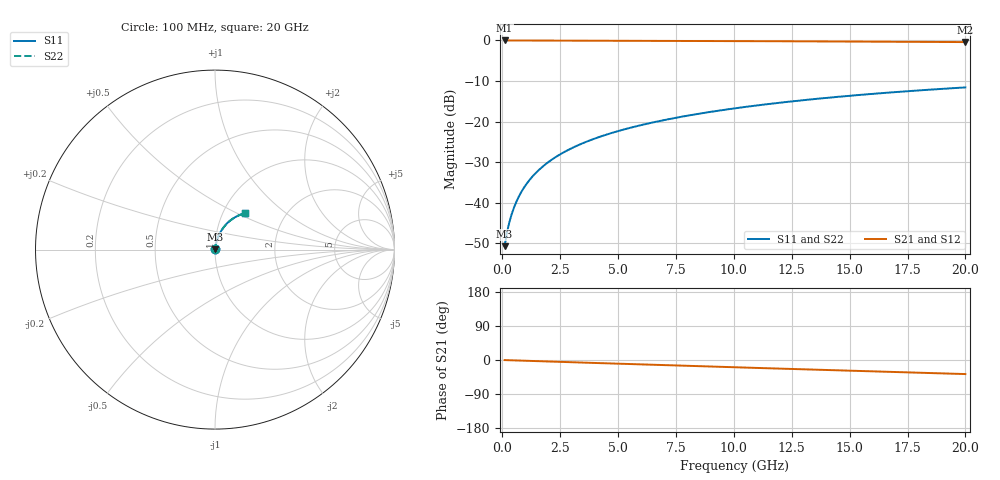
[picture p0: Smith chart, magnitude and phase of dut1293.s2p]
! Touchstone file exported from HFSS 2026.1.0
!  File:  C:/ffzhzh/LocalFiles/Ansys_Project_Files/temp_train_BSMRDL_1293_1783178046_43440.aedt
!  Generated:  11:15:25 PM Jul  4, 2026
!  Design:  BSMRDL
!  Project:  temp_train_BSMRDL_1293_1783178046_43440
! Variables:
!  h_bsmrdl = 5.48um
!  h_ox = 20um
!  h_rdl = 5um
!  h_sub = 80um
!  h_tmrdl = 5um
!  h_tsv = 80um
!  h_via = 3um
!  l_bsmrdl = 599.03um
!  l_sub = 999.03um
!  l_tmrdl = 200um
!  m_sub = 200um
!  pitch = 34.17um
!  r_tsv = 6um
!  s_tmrdl = 10um
!  w_bsmrdl = 18.08um
!  w_sub = 500um
!  w_tmrdl = 12um
!  x_tsv_center1 = 206um
!  x_tsv_center2 = 823.11um
!  x_tsv_center3 = 1035.11um
!  x_tsv_center4 = 1652.22um
!  x_tsv_center5 = 1864.22um
!  x_tsv_center6 = 2481.33um
# GHz S MA R 50.000000
! Terminal data exported
! Port[1] = BSM_RDL1_1_T1
! Port[2] = BSM_RDL1_1_T2
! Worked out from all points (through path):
!   200 points, 100 MHz to 20 GHz, reference 50 ohm
!   highest |S21| = -0.02 dB at 100 MHz (marker M1); lowest = -0.4 dB at 20 GHz (marker M2)
!   group delay of S21, straight-line fit = 5.14 ps
!   lowest |S11| = -50.7 dB at 100 MHz (marker M3), VSWR 1.01, Z = 50.2 + j0.18 ohm
!   |S11| at or under -10 dB: start of sweep to end of sweep
!   |S22| runs from -50.7 to -11.6 dB; largest |S21 - S12| = 3.4e-15
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0.1  0.002915 37.9  0.9977 -0.2  0.9977 -0.2  0.002915 37.9
! Gamma 0 0 0 0
! Port Impedance 50 0 50 0
0.2  0.004249 54.4  0.9975 -0.4  0.9975 -0.4  0.004249 54.4
0.3  0.005679 62.4  0.9974 -0.6  0.9974 -0.6  0.005679 62.4
0.4  0.007144 67.3  0.9973 -0.8  0.9973 -0.8  0.007144 67.3
0.5  0.008636 70.6  0.9972 -1.0  0.9972 -1.0  0.008636 70.6
0.6  0.01015 72.9  0.9972 -1.2  0.9972 -1.2  0.01015 72.9
0.8  0.01322 75.8  0.997 -1.6  0.997 -1.6  0.01322 75.8
1.1  0.01787 78.0  0.9968 -2.2  0.9968 -2.2  0.01787 78.0
1.3  0.02098 78.8  0.9966 -2.6  0.9966 -2.6  0.02098 78.8
1.6  0.02564 79.3  0.9963 -3.2  0.9963 -3.2  0.02564 79.3
2.1  0.03335 79.4  0.9957 -4.1  0.9957 -4.1  0.03335 79.4
2.7  0.04249 79.0  0.9949 -5.3  0.9949 -5.3  0.04249 79.0
3.5  0.05445 77.9  0.9936 -6.9  0.9936 -6.9  0.05445 77.9
4.2  0.06472 76.9  0.9924 -8.2  0.9924 -8.2  0.06472 76.9
5  0.07627 75.6  0.9909 -9.7  0.9909 -9.7  0.07627 75.6
5.9  0.08905 74.2  0.9892 -11.4  0.9892 -11.4  0.08905 74.2
6.8  0.1016 72.7  0.9874 -13.1  0.9874 -13.1  0.1016 72.7
8.3  0.1222 70.2  0.9843 -15.9  0.9843 -15.9  0.1222 70.2
10.1  0.1463 67.2  0.9802 -19.3  0.9802 -19.3  0.1463 67.2
13.4  0.1883 61.6  0.9719 -25.3  0.9719 -25.3  0.1883 61.6
16.7  0.2275 56.0  0.9626 -31.3  0.9626 -31.3  0.2275 55.9
20  0.2634 50.4  0.9528 -37.1  0.9528 -37.1  0.2634 50.3
